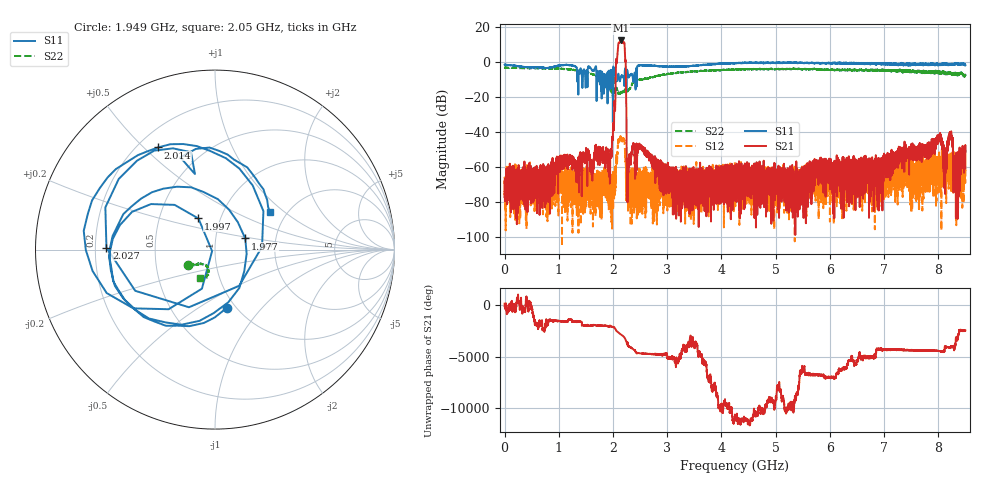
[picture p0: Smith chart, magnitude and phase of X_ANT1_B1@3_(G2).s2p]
#  HZ  S  RI  R  50.00
! Rohde & Schwarz Vector Network Analyzer
! Rohde-Schwarz,ZNBT8-20Port,1318700624101681,3.50
! Created: UTC 7/15/2025, 2:08:33 PM
! freq[Hz]  re:S1010  im:S1010  re:S0310  im:S0310  re:S1003  im:S1003  re:S33  im:S33
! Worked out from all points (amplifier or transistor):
!   8500 points, 1 MHz to 8.5 GHz, reference 50 ohm
!   highest |S21| = 12.2 dB at 2.143 GHz (marker M1)
!   |S21| within 3 dB of that: 2.095 GHz to 2.215 GHz (119.9 MHz wide, 5.57 % of centre)
!   unconditionally stable (mu >= 1): start of sweep to end of sweep
!   at 1.417 GHz: K = 383842.65, MAG = -53.9 dB, |S12| = -67.1 dB
!   at 4.251 GHz: K = 526815.39, MAG = -62.8 dB, |S12| = -68.2 dB
!   at 8.5 GHz: K = 228386.42, MAG = -55.7 dB, |S12| = -62.8 dB
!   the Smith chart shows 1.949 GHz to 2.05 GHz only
!   S11 on the Smith chart (normalised r, x): 1.949 GHz: 0.92, -0.66; 1.977 GHz: 1.39, +0.18; 1.997 GHz: 0.79, +0.28; 2.014 GHz: 0.28, +0.55; 2.027 GHz: 0.25, +0.01; 2.05 GHz: 1.63, +0.80
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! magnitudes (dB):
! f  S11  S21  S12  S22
! 1 MHz  -1.6  -77.3  -70.0  -3.3
! 1.418 GHz  -5.1  -61.9  -67.7  -5.2
! 1.949 GHz  -9.6  -53.7  -63.9  -15.3
! 1.977 GHz  -14.9  -51.4  -77.3  -17.3
! 1.997 GHz  -14.1  -43.8  -66.2  -19.4
! 2.014 GHz  -3.7  -38.2  -65.8  -18.6
! 2.027 GHz  -4.4  -22.2  -67.9  -16.6
! 2.05 GHz  -8.6  -11.2  -62.7  -15.1
! 2.093 GHz  -7.1  8.6  -47.1  -17.6
! 2.143 GHz  -9.0  12.2  -43.3  -17.6
! 2.205 GHz  -10.7  11.0  -44.4  -17.0
! 2.293 GHz  -8.5  -55.5  -82.7  -15.8
! 2.512 GHz  -1.9  -49.1  -67.9  -10.1
! 2.834 GHz  -2.5  -57.9  -71.7  -8.0
! 4.251 GHz  -0.7  -73.3  -68.2  -4.3
! 5.667 GHz  -0.4  -60.0  -69.5  -4.1
! 7.084 GHz  -1.1  -61.3  -62.8  -4.7
! 8.019 GHz  -1.4  -45.0  -58.8  -6.3
! 8.126 GHz  -1.1  -51.3  -71.9  -6.3
! 8.225 GHz  -1.4  -40.7  -51.8  -6.1
! 8.32 GHz  -1.0  -66.5  -55.0  -6.2
! 8.5 GHz  -1.9  -61.0  -62.8  -7.6
